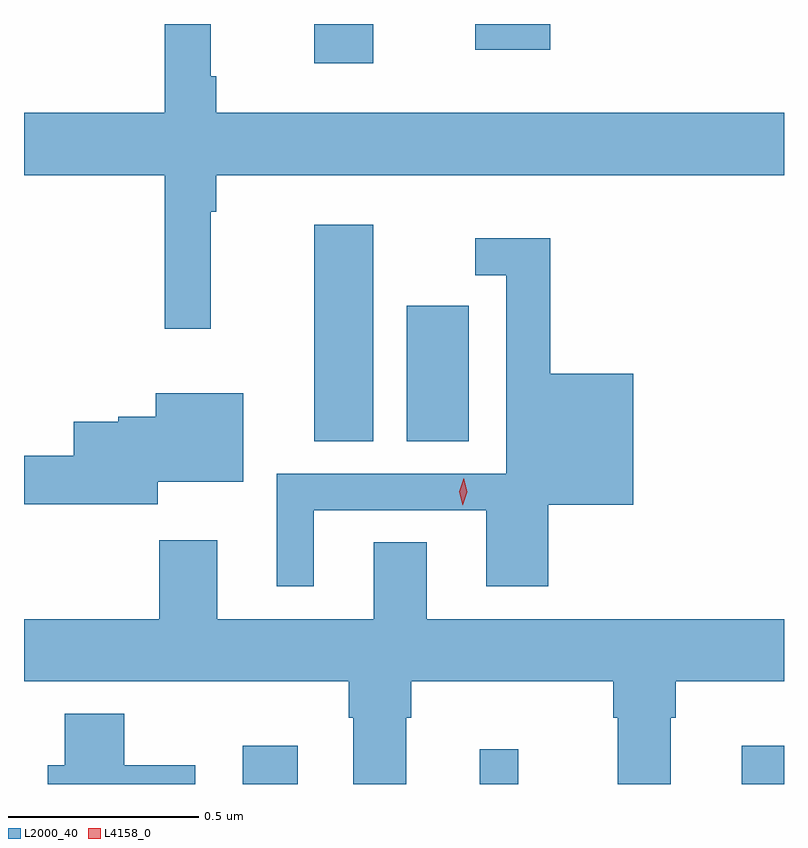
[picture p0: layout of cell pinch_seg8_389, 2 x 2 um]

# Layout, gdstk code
import gdstk
lib = gdstk.Library(unit=1e-6, precision=1e-09)
def R(c, l, rs):  # rectangles x0, y0, x1, y1
    for r in rs: c.add(gdstk.rectangle(r[:2], r[2:], *l))
def P(c, l, *ps):  # polygons
    for p in ps: c.add(gdstk.Polygon(p, *l))
L2000_40 = (2000, 40)
L4158_0 = (4158, 0)

pinch_seg8_389 = lib.new_cell('pinch_seg8_389')
R(pinch_seg8_389, L2000_40, [(432.65,1096.25,432.796,1096.351), (433.274,1096.25,433.376,1096.342), (433.964,1096.25,434.075,1096.351), (432.839,1097.152,432.994,1097.722), (433.082,1097.152,433.246,1097.509), (432.839,1098.147,432.994,1098.25), (433.263,1098.182,433.46,1098.25)])
P(pinch_seg8_389, L2000_40, [(432.566,1097.756),(432.581,1097.756),(432.581,1097.852),(434.075,1097.852),(434.075,1098.016),(432.581,1098.016),(432.581,1098.112),(432.566,1098.112),(432.566,1098.25),(432.445,1098.25),(432.445,1098.016),(432.075,1098.016),(432.075,1097.852),(432.445,1097.852),(432.445,1097.448),(432.566,1097.448)],
  [(432.838,1096.971),(433.292,1096.971),(433.292,1096.77),(433.454,1096.77),(433.454,1096.985),(433.678,1096.985),(433.678,1097.329),(433.46,1097.329),(433.46,1097.686),(433.263,1097.686),(433.263,1097.589),(433.344,1097.589),(433.344,1097.067),(432.74,1097.067),(432.74,1096.77),(432.838,1096.77)],
  [(432.427,1097.045),(432.652,1097.045),(432.652,1097.278),(432.422,1097.278),(432.422,1097.216),(432.323,1097.216),(432.323,1097.203),(432.206,1097.203),(432.206,1097.114),(432.075,1097.114),(432.075,1096.986),(432.427,1096.986)],
  [(433.081,1096.424),(433.094,1096.424),(433.094,1096.52),(433.625,1096.52),(433.625,1096.424),(433.637,1096.424),(433.637,1096.25),(433.777,1096.25),(433.777,1096.424),(433.79,1096.424),(433.79,1096.52),(434.075,1096.52),(434.075,1096.684),(433.135,1096.684),(433.135,1096.886),(432.995,1096.886),(432.995,1096.684),(432.583,1096.684),(432.583,1096.891),(432.431,1096.891),(432.431,1096.684),(432.075,1096.684),(432.075,1096.52),(432.929,1096.52),(432.929,1096.424),(432.941,1096.424),(432.941,1096.25),(433.081,1096.25)],
  [(432.526,1096.3),(432.339,1096.3),(432.339,1096.435),(432.182,1096.435),(432.182,1096.3),(432.137,1096.3),(432.137,1096.25),(432.526,1096.25)])
P(pinch_seg8_389, L4158_0, [(433.23,1096.983),(433.229,1096.984),(433.221,1097.019),(433.232,1097.054),(433.232,1097.055),(433.232,1097.054),(433.241,1097.019),(433.23,1096.984)])

lib.write_gds('pinch_seg8_389.gds')
